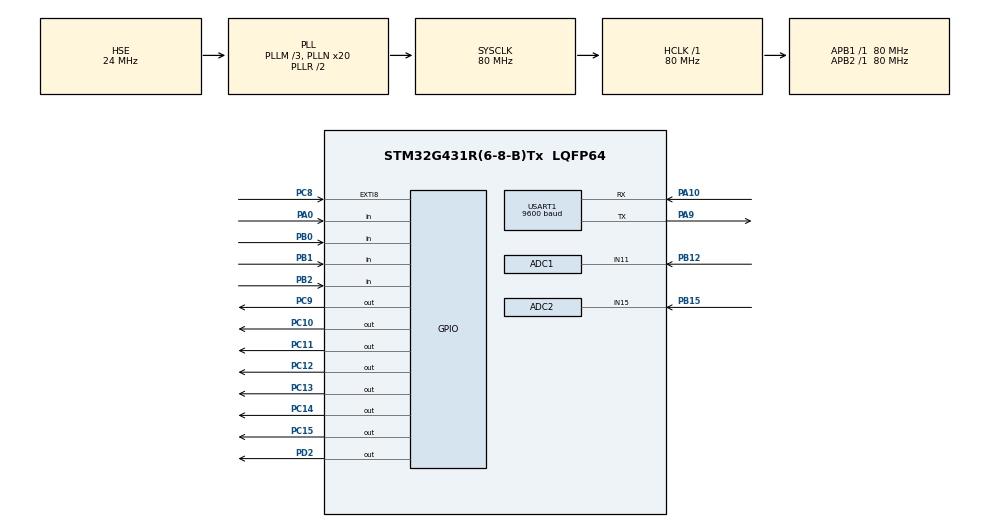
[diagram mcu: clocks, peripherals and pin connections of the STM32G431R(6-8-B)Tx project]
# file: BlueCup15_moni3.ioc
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ADC1.Channel-0\#ChannelRegularConversion=ADC_CHANNEL_11
ADC1.NbrOfConversionFlag=1
ADC1.OffsetNumber-0\#ChannelRegularConversion=ADC_OFFSET_NONE
ADC1.Rank-0\#ChannelRegularConversion=1
ADC1.SamplingTime-0\#ChannelRegularConversion=ADC_SAMPLETIME_2CYCLES_5
ADC1.master=1
ADC2.Channel-0\#ChannelRegularConversion=ADC_CHANNEL_15
ADC2.NbrOfConversionFlag=1
ADC2.OffsetNumber-0\#ChannelRegularConversion=ADC_OFFSET_NONE
ADC2.Rank-0\#ChannelRegularConversion=1
ADC2.SamplingTime-0\#ChannelRegularConversion=ADC_SAMPLETIME_2CYCLES_5
Dma.Request0=USART1_RX
Dma.USART1_RX.0.Direction=DMA_PERIPH_TO_MEMORY
Dma.USART1_RX.0.EventEnable=DISABLE
Dma.USART1_RX.0.Instance=DMA1_Channel1
Dma.USART1_RX.0.MemDataAlignment=DMA_MDATAALIGN_BYTE
Dma.USART1_RX.0.MemInc=DMA_MINC_ENABLE
Dma.USART1_RX.0.Mode=DMA_NORMAL
Dma.USART1_RX.0.PeriphDataAlignment=DMA_PDATAALIGN_BYTE
Dma.USART1_RX.0.PeriphInc=DMA_PINC_DISABLE
Dma.USART1_RX.0.Polarity=HAL_DMAMUX_REQ_GEN_RISING
Dma.USART1_RX.0.Priority=DMA_PRIORITY_LOW
Dma.USART1_RX.0.RequestNumber=1
Dma.USART1_RX.0.SignalID=NONE
Dma.USART1_RX.0.SyncEnable=DISABLE
Dma.USART1_RX.0.SyncPolarity=HAL_DMAMUX_SYNC_NO_EVENT
Dma.USART1_RX.0.SyncRequestNumber=1
Dma.USART1_RX.0.SyncSignalID=NONE
Mcu.Family=STM32G4
Mcu.Name=STM32G431R(6-8-B)Tx
Mcu.Package=LQFP64
NVIC.DMA1_Channel1_IRQn=true\:0\:0\:false\:false\:true\:false\:true\:true
NVIC.PriorityGroup=NVIC_PRIORITYGROUP_4
NVIC.USART1_IRQn=true\:0\:0\:false\:false\:true\:true\:true\:true
PA0.GPIO_Mode=GPIO_MODE_INPUT
PA0.GPIO_PuPd=GPIO_NOPULL
PA0.Signal=GPIO_Input
PA10.Mode=Asynchronous
PA10.Signal=USART1_RX
PA9.Mode=Asynchronous
PA9.Signal=USART1_TX
PB0.GPIO_Mode=GPIO_MODE_INPUT
PB0.GPIO_PuPd=GPIO_NOPULL
PB0.Signal=GPIO_Input
PB1.GPIO_Mode=GPIO_MODE_INPUT
PB1.GPIO_PuPd=GPIO_NOPULL
PB1.Signal=GPIO_Input
PB12.Mode=IN11-Single-Ended
PB12.Signal=ADC1_IN11
PB15.Mode=IN15-Single-Ended
PB15.Signal=ADC2_IN15
PB2.GPIO_Mode=GPIO_MODE_INPUT
PB2.GPIO_PuPd=GPIO_NOPULL
PB2.Signal=GPIO_Input
PC10.GPIO_ModeDefaultOutputPP=GPIO_MODE_OUTPUT_PP
PC10.GPIO_PuPd=GPIO_NOPULL
PC10.GPIO_Speed=GPIO_SPEED_FREQ_LOW
PC10.PinState=GPIO_PIN_SET
PC10.Signal=GPIO_Output
PC11.GPIO_ModeDefaultOutputPP=GPIO_MODE_OUTPUT_PP
PC11.GPIO_PuPd=GPIO_NOPULL
PC11.GPIO_Speed=GPIO_SPEED_FREQ_LOW
PC11.PinState=GPIO_PIN_SET
PC11.Signal=GPIO_Output
PC12.GPIO_ModeDefaultOutputPP=GPIO_MODE_OUTPUT_PP
PC12.GPIO_PuPd=GPIO_NOPULL
PC12.GPIO_Speed=GPIO_SPEED_FREQ_LOW
PC12.PinState=GPIO_PIN_SET
PC12.Signal=GPIO_Output
PC13.GPIO_ModeDefaultOutputPP=GPIO_MODE_OUTPUT_PP
PC13.GPIO_PuPd=GPIO_NOPULL
PC13.GPIO_Speed=GPIO_SPEED_FREQ_LOW
PC13.PinState=GPIO_PIN_SET
PC13.Signal=GPIO_Output
PC14-OSC32_IN.GPIO_ModeDefaultOutputPP=GPIO_MODE_OUTPUT_PP
PC14-OSC32_IN.GPIO_PuPd=GPIO_NOPULL
PC14-OSC32_IN.GPIO_Speed=GPIO_SPEED_FREQ_LOW
PC14-OSC32_IN.PinState=GPIO_PIN_SET
PC14-OSC32_IN.Signal=GPIO_Output
PC15-OSC32_OUT.GPIO_ModeDefaultOutputPP=GPIO_MODE_OUTPUT_PP
PC15-OSC32_OUT.GPIO_PuPd=GPIO_NOPULL
PC15-OSC32_OUT.GPIO_Speed=GPIO_SPEED_FREQ_LOW
PC15-OSC32_OUT.PinState=GPIO_PIN_SET
PC15-OSC32_OUT.Signal=GPIO_Output
PC8.GPIO_PuPd=GPIO_NOPULL
PC8.Signal=GPXTI8
PC9.GPIO_ModeDefaultOutputPP=GPIO_MODE_OUTPUT_PP
PC9.GPIO_PuPd=GPIO_NOPULL
PC9.GPIO_Speed=GPIO_SPEED_FREQ_LOW
PC9.PinState=GPIO_PIN_SET
PC9.Signal=GPIO_Output
PD2.GPIO_ModeDefaultOutputPP=GPIO_MODE_OUTPUT_PP
PD2.GPIO_PuPd=GPIO_NOPULL
PD2.GPIO_Speed=GPIO_SPEED_FREQ_LOW
PD2.PinState=GPIO_PIN_RESET
PD2.Signal=GPIO_Output
PF0-OSC_IN.Mode=HSE-External-Oscillator
PF0-OSC_IN.Signal=RCC_OSC_IN
PF1-OSC_OUT.Mode=HSE-External-Oscillator
PF1-OSC_OUT.Signal=RCC_OSC_OUT
ProjectManager.HeapSize=0x200
ProjectManager.StackSize=0x400
ProjectManager.TargetToolchain=MDK-ARM V5.32
RCC.ADC12Freq_Value=80000000
RCC.AHBFreq_Value=80000000
RCC.APB1Freq_Value=80000000
RCC.APB1TimFreq_Value=80000000
RCC.APB2Freq_Value=80000000
RCC.APB2TimFreq_Value=80000000
RCC.CortexFreq_Value=80000000
RCC.EXTERNAL_CLOCK_VALUE=12288000
RCC.HCLKFreq_Value=80000000
RCC.HSE_VALUE=24000000
RCC.HSI48_VALUE=48000000
RCC.HSI_VALUE=16000000
RCC.LSE_VALUE=32768
RCC.PLLM=RCC_PLLM_DIV3
RCC.PLLN=20
RCC.PLLSourceVirtual=RCC_PLLSOURCE_HSE
RCC.SYSCLKFreq_VALUE=80000000
RCC.SYSCLKSource=RCC_SYSCLKSOURCE_PLLCLK
RCC.USBFreq_Value=80000000
RCC.VCOOutputFreq_Value=160000000
USART1.BaudRate=9600
USART1.VirtualMode-Asynchronous=VM_ASYNC
VP_SYS_VS_DBSignals.Mode=DisableDeadBatterySignals
board=custom

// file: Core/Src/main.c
/* USER CODE BEGIN Header */
/**
  ******************************************************************************
  * @file           : main.c
  * @brief          : Main program body
  ******************************************************************************
  * @attention
  *
  * Copyright (c) 2025 STMicroelectronics.
  * All rights reserved.
  *
  * This software is licensed under terms that can be found in the LICENSE file
  * in the root directory of this software component.
  * If no LICENSE file comes with this software, it is provided AS-IS.
  *
  ******************************************************************************
  */
/* USER CODE END Header */
#include "main.h"
#include "adc.h"
#include "dma.h"
#include "usart.h"
#include "gpio.h"

/* USER CODE BEGIN Includes */
#include <stdio.h>
#include <string.h>

#include "key.h"
#include "led.h"
#include "pot.h"
#include "lcd.h"
/* USER CODE END Includes */

/* USER CODE BEGIN PD */
typedef enum {
    GOODS,
    STANDARD,
    PASS
}PAGE;
/* USER CODE END PD */

/* USER CODE BEGIN PV */
uint8_t page = GOODS;

uint8_t pass_R37        = 0;//R37 --- val2 ; R38 --- val1
uint8_t pass_not_R37    = 0;
float   percent_R37     = 0;
float   high_R37        = 0;
float   low_R37         = 0;
uint8_t high_R37_10     = 22;
uint8_t low_R37_10      = 12;

uint8_t pass_R38        = 0;
uint8_t pass_not_R38    = 0;
float   percent_R38     = 0;
float   high_R38        = 0;
float   low_R38         = 0;
uint8_t high_R38_10     = 30;
uint8_t low_R38_10      = 14;

uint16_t led_timer1 = 0;
uint16_t led_timer2 = 0;

char receive_buff[20];
/* USER CODE END PV */

void SystemClock_Config(void);

/* USER CODE BEGIN 0 */
void UI_Proc();
void KEY_Proc();
void POT_Proc();
void LED_Proc();
/* USER CODE END 0 */

int main(void)
{

  /* MCU Configuration--------------------------------------------------------*/

  /* Reset of all peripherals, Initializes the Flash interface and the Systick. */
  HAL_Init();

  /* Configure the system clock */
  SystemClock_Config();

  /* Initialize all configured peripherals */
  MX_GPIO_Init();
  MX_DMA_Init();
  MX_ADC1_Init();
  MX_ADC2_Init();
  MX_USART1_UART_Init();
  /* USER CODE BEGIN 2 */
    LCD_Init();
    LCD_Clear(Black);
    LCD_SetBackColor(Black);
    LCD_SetTextColor(White);

    HAL_ADCEx_Calibration_Start(&hadc1, ADC_SINGLE_ENDED);
    HAL_ADCEx_Calibration_Start(&hadc2, ADC_SINGLE_ENDED);

//    HAL_UART_Receive_DMA(&huart1, (uint8_t*)receive_buff, 3);
    HAL_UARTEx_ReceiveToIdle_IT(&huart1, (uint8_t*)receive_buff, 3);
  /* USER CODE END 2 */

  /* Infinite loop */
  /* USER CODE BEGIN WHILE */
  while (1)
  {
      POT_Proc();
      KEY_Proc();
      UI_Proc();
      LED_Proc();
//      static char s[20];
//      static uint16_t monitor;
//      sprintf(s, "%8d", para);
//      LCD_DisplayStringLine(Line8, (u8*)s);
    /* USER CODE END WHILE */

  }
}

void SystemClock_Config(void)
{
  RCC_OscInitTypeDef RCC_OscInitStruct = {0};
  RCC_ClkInitTypeDef RCC_ClkInitStruct = {0};

  /** Configure the main internal regulator output voltage
  */
  HAL_PWREx_ControlVoltageScaling(PWR_REGULATOR_VOLTAGE_SCALE1);

  /** Initializes the RCC Oscillators according to the specified parameters
  * in the RCC_OscInitTypeDef structure.
  */
  RCC_OscInitStruct.OscillatorType = RCC_OSCILLATORTYPE_HSE;
  RCC_OscInitStruct.HSEState = RCC_HSE_ON;
  RCC_OscInitStruct.PLL.PLLState = RCC_PLL_ON;
  RCC_OscInitStruct.PLL.PLLSource = RCC_PLLSOURCE_HSE;
  RCC_OscInitStruct.PLL.PLLM = RCC_PLLM_DIV3;
  RCC_OscInitStruct.PLL.PLLN = 20;
  RCC_OscInitStruct.PLL.PLLP = RCC_PLLP_DIV2;
  RCC_OscInitStruct.PLL.PLLQ = RCC_PLLQ_DIV2;
  RCC_OscInitStruct.PLL.PLLR = RCC_PLLR_DIV2;
  if (HAL_RCC_OscConfig(&RCC_OscInitStruct) != HAL_OK)
  {
    Error_Handler();
  }

  /** Initializes the CPU, AHB and APB buses clocks
  */
  RCC_ClkInitStruct.ClockType = RCC_CLOCKTYPE_HCLK|RCC_CLOCKTYPE_SYSCLK
                              |RCC_CLOCKTYPE_PCLK1|RCC_CLOCKTYPE_PCLK2;
  RCC_ClkInitStruct.SYSCLKSource = RCC_SYSCLKSOURCE_PLLCLK;
  RCC_ClkInitStruct.AHBCLKDivider = RCC_SYSCLK_DIV1;
  RCC_ClkInitStruct.APB1CLKDivider = RCC_HCLK_DIV1;
  RCC_ClkInitStruct.APB2CLKDivider = RCC_HCLK_DIV1;

  if (HAL_RCC_ClockConfig(&RCC_ClkInitStruct, FLASH_LATENCY_2) != HAL_OK)
  {
    Error_Handler();
  }
}

/* USER CODE BEGIN 4 */
void UI_Proc(){
    static char buff[20];
    switch (page)
    {
    	case GOODS:
            LCD_DisplayStringLine(Line1, (u8*)"       GOODS        ");

            sprintf(buff, "     R37:%.2fV     ", pot.val_2);
            LCD_DisplayStringLine(Line3, (u8*)buff);
            sprintf(buff, "     R38:%.2fV     ", pot.val_1);
            LCD_DisplayStringLine(Line4, (u8*)buff);
    		break;
    	case STANDARD:
            LCD_DisplayStringLine(Line1, (u8*)"       STANDARD     ");

            sprintf(buff, "     SR37:%.1f-%.1f",low_R37,high_R37);
            LCD_DisplayStringLine(Line3, (u8*)buff);
            sprintf(buff, "     SR38:%.1f-%.1f",low_R38,high_R38);
            LCD_DisplayStringLine(Line4, (u8*)buff);
    		break;
    	case PASS:
            LCD_DisplayStringLine(Line1, (u8*)"       PASS         ");

            sprintf(buff, "     PR37:%.1f%%     ",percent_R37 * 100);
            LCD_DisplayStringLine(Line3, (u8*)buff);
            sprintf(buff, "     PR38:%.1f%%     ",percent_R38 * 100);
            LCD_DisplayStringLine(Line4, (u8*)buff);
    		break;
    }
}
void KEY_Proc(){
    static uint8_t flag = 0;
    static uint8_t para = 0;

    KEY_Updata();
    flag = KEY_GetFlag();

    if(flag == 1) {
        LCD_Clear(Black);
        if(++page == 3) page = GOODS;
        para = 0;
    }
    switch (page)
    {
    	case GOODS:
            if(flag == 2) {
                if(pot.val_2 <= high_R37 && pot.val_2 >= low_R37) ++pass_R37;
                else ++pass_not_R37;
            }
            if(flag == 3) {
                if(pot.val_1 <= high_R38 && pot.val_1 >= low_R38) ++pass_R38;
                else ++pass_not_R38;
            }
    		break;
    	case STANDARD:
            if(flag == 2) {
                if(++para == 4) para = 0;
            }
            if(flag == 3) {
                switch (para) {
                	case 0: //R37 high
                        if(high_R37_10 >= 30) high_R37_10 = 22;
                        else high_R37_10 += 2;
                		break;
                	case 1: //R37 low
                        if(low_R37_10 >= 20) low_R37_10 = 12;
                        else low_R37_10 += 2;
                		break;
                	case 2: //R38 hihg
                        if(high_R38_10 >= 30) high_R38_10 = 22;
                        else high_R38_10 += 2;
                		break;
                	case 3: //R38 low
                        if(low_R38_10 >= 20) low_R38_10 = 12;
                        else low_R38_10 += 2;
                		break;
                }
            }
            if(flag == 4) {
                switch (para) {
                	case 0: //R37 high
                        if(high_R37_10 <= 22) high_R37_10 = 30;
                        else high_R37_10 -= 2;
                		break;
                	case 1: //R37 low
                        if(low_R37_10 <= 12) low_R37_10 = 20;
                        else low_R37_10 -= 2;
                		break;
                	case 2: //R38 hihg
                        if(high_R38_10 <= 22) high_R38_10 = 30;
                        else high_R38_10 -= 2;
                		break;
                	case 3: //R38 low
                        if(low_R38_10 <= 12) low_R38_10 = 20;
                        else low_R38_10 -= 2;
                		break;
                }
            }
    		break;
    	case PASS:
            if(flag == 4) {
                pass_R37        = 0;
                pass_not_R37    = 0;
                pass_R38        = 0;
                pass_not_R38    = 0;
            }
    		break;
    }
}
void POT_Proc(){
    POT_Updata();

    percent_R37 = pass_R37 / (float)(pass_not_R37 + pass_R37);
    percent_R38 = pass_R38 / (float)(pass_not_R38 + pass_R38);

    low_R37 = low_R37_10 / 10.0;
    low_R38 = low_R38_10 / 10.0;

    high_R38 = high_R38_10 / 10.0;
    high_R37 = high_R37_10 / 10.0;

    if(pass_not_R37 + pass_R37 == 0) {
        percent_R37 = 0;
    }
    if(pass_not_R38 + pass_R38 == 0) {
        percent_R38 = 0;
    }
}
void LED_Proc(){
    static uint8_t isPass_R37;
    static uint8_t last_pass_R37;
    static uint8_t isPass_R38;
    static uint8_t last_pass_R38;

    isPass_R37 = last_pass_R37 == pass_R37? 0:1;
    isPass_R38 = last_pass_R38 == pass_R38? 0:1;

    if(isPass_R37) {
        LED_Set(1);
        led_timer1 = 0;
    }
    if(led_timer1 >= 1000) LED_Reset(1);

    if(isPass_R38) {
        LED_Set(2);
        led_timer2 = 0;
    }
    if(led_timer2 >= 1000) LED_Reset(2);

    switch (page)
    {
    	case GOODS:
            LED_Set(3);
            LED_Reset(4);
            LED_Reset(5);
    		break;
    	case STANDARD:
            LED_Reset(3);
            LED_Set(4);
            LED_Reset(5);
    		break;
    	case PASS:
            LED_Reset(3);
            LED_Reset(4);
            LED_Set(5);
    		break;
    }

    last_pass_R37 = pass_R37;
    last_pass_R38 = pass_R38;
    LED_Updata();
}
//void HAL_UART_RxCpltCallback(UART_HandleTypeDef *huart){
//    if(huart == &huart1) {
//        static char transmit_buff[50];
//
//        if(strcmp(receive_buff, "R37") == 0) {
//            sprintf(transmit_buff,"R37:%d,%d,%.1f%%\r\n",pass_not_R37 + pass_R37, pass_R37, percent_R37 * 100);
//            HAL_UART_Transmit(&huart1, (uint8_t*)transmit_buff, strlen(transmit_buff), HAL_MAX_DELAY);
//        }
//        else if(strcmp(receive_buff, "R38") == 0) {
//            sprintf(transmit_buff,"R38:%d,%d,%.1f%%\r\n",pass_not_R38 + pass_R38, pass_R38, percent_R38 * 100);
//            HAL_UART_Transmit(&huart1, (uint8_t*)transmit_buff, strlen(transmit_buff), HAL_MAX_DELAY);
//        }
//        HAL_UART_Receive_DMA(&huart1, (uint8_t*)receive_buff, 3);
//    }
//
//}
void HAL_UARTEx_RxEventCallback(UART_HandleTypeDef *huart, uint16_t Size){
    if(huart == &huart1) {
        static char transmit_buff[50];

        if(strcmp(receive_buff, "R37") == 0) {
            sprintf(transmit_buff,"R37:%d,%d,%.1f%%\r\n",pass_not_R37 + pass_R37, pass_R37, percent_R37 * 100);
            HAL_UART_Transmit(&huart1, (uint8_t*)transmit_buff, strlen(transmit_buff), HAL_MAX_DELAY);
        }
        else if(strcmp(receive_buff, "R38") == 0) {
            sprintf(transmit_buff,"R38:%d,%d,%.1f%%\r\n",pass_not_R38 + pass_R38, pass_R38, percent_R38 * 100);
            HAL_UART_Transmit(&huart1, (uint8_t*)transmit_buff, strlen(transmit_buff), HAL_MAX_DELAY);
        }
        HAL_UARTEx_ReceiveToIdle_IT(&huart1, (uint8_t*)receive_buff, 3);
    }
}
/* USER CODE END 4 */

void Error_Handler(void)
{
  __disable_irq();
  while (1)
  {
  }
}
